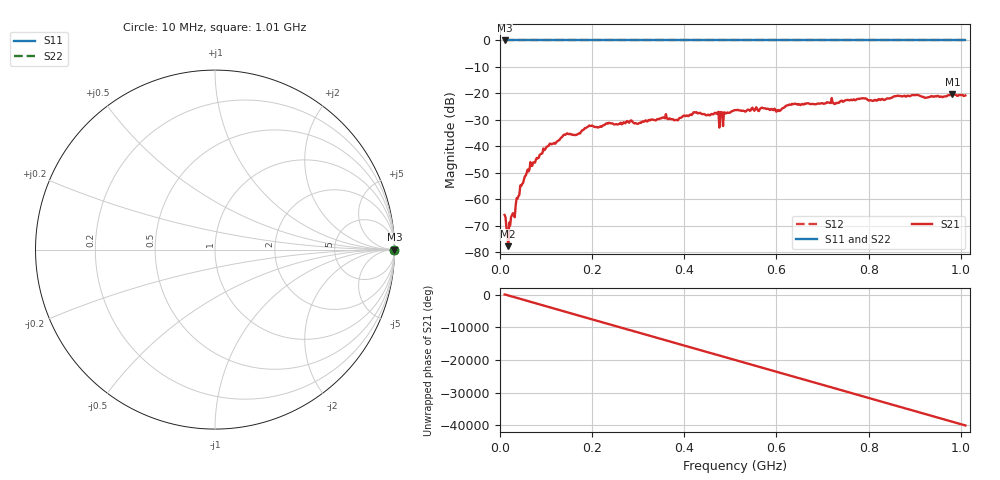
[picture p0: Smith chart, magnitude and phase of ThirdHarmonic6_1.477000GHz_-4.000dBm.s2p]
! 8/16/2025 5:14:30 PM
! C:\ANRITSUVNA\TEMP\TEMP.S2P
! CHANNEL.1
! TR.MEASUREMENT
! RAW.DATA
! RF.CORRECTION.OFF
! AVERAGING.OFF
! IF.BANDWIDTH: 5KHZ
! SWEEPTYPE:  FREQ.SWEEP(Linear)
! Reference Plane Port Info
! PORT:  PORT1  PORT2
! DISTANCE:  0  m  0  m
! TIME:  0  s  0  s
! PHASE.OFFSET:  0  deg.  0  deg.
! LOSS:  0  dB  0  dB
! REF.LOSS:  0  dB  0  dB
! REF.FREQ:  0  Hz  0  Hz
! Power Info
! POWER:  -20  dBm  -20  dBm
! EFF.POWER:  -20  dBm  -20  dBm
! SOURCE.ATTEN:  0  dB  0  dB
! TEST.ATTEN:  0  dB  0  dB
# GHZ S RI R 50.0
! FREQ.GHZ  S11RE  S11IM  S21RE  S21IM  S12RE  S12IM  S22RE  S22IM
!; PortSelection: Port_12
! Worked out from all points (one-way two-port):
!   501 points, 10 MHz to 1.01 GHz, reference 50 ohm
!   highest |S21| = -20.34 dB at 982 MHz (marker M1); lowest = -77.6 dB at 18 MHz (marker M2)
!   lowest |S11| = 0.0 dB at 10 MHz (marker M3)
!   |S11| at or under -10 dB: nowhere
!   |S22| runs from 0.0 to 0.0 dB; largest |S21 - S12| = 1.1
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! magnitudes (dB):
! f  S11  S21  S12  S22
! 10 MHz  0.0  -65.9  0.0  0.0
! 14 MHz  0.0  -70.8  0.0  0.0
! 18 MHz  0.0  -77.6  0.0  0.0
! 24 MHz  0.0  -66.7  0.0  0.0
! 48 MHz  0.0  -54.2  0.0  0.0
! 70 MHz  0.0  -47.3  0.0  0.0
! 106 MHz  0.0  -39.7  0.0  0.0
! 142 MHz  0.0  -35.6  0.0  0.0
! 178 MHz  0.0  -34.0  0.0  0.0
! 196 MHz  0.0  -32.3  0.0  0.0
! 344 MHz  0.0  -29.7  0.0  0.0
! 382 MHz  0.0  -30.0  0.0  0.0
! 424 MHz  0.0  -27.2  0.0  0.0
! 470 MHz  0.0  -27.7  0.0  0.0
! 480 MHz  0.0  -27.0  0.0  0.0
! 510 MHz  0.0  -26.3  0.0  0.0
! 604 MHz  0.0  -26.2  0.0  0.0
! 632 MHz  0.0  -24.3  0.0  0.0
! 678 MHz  0.0  -24.0  0.0  0.0
! 844 MHz  0.0  -21.9  0.0  0.0
! 982 MHz  0.0  -20.3  0.0  0.0
! 1.01 GHz  0.0  -20.8  0.0  0.0
